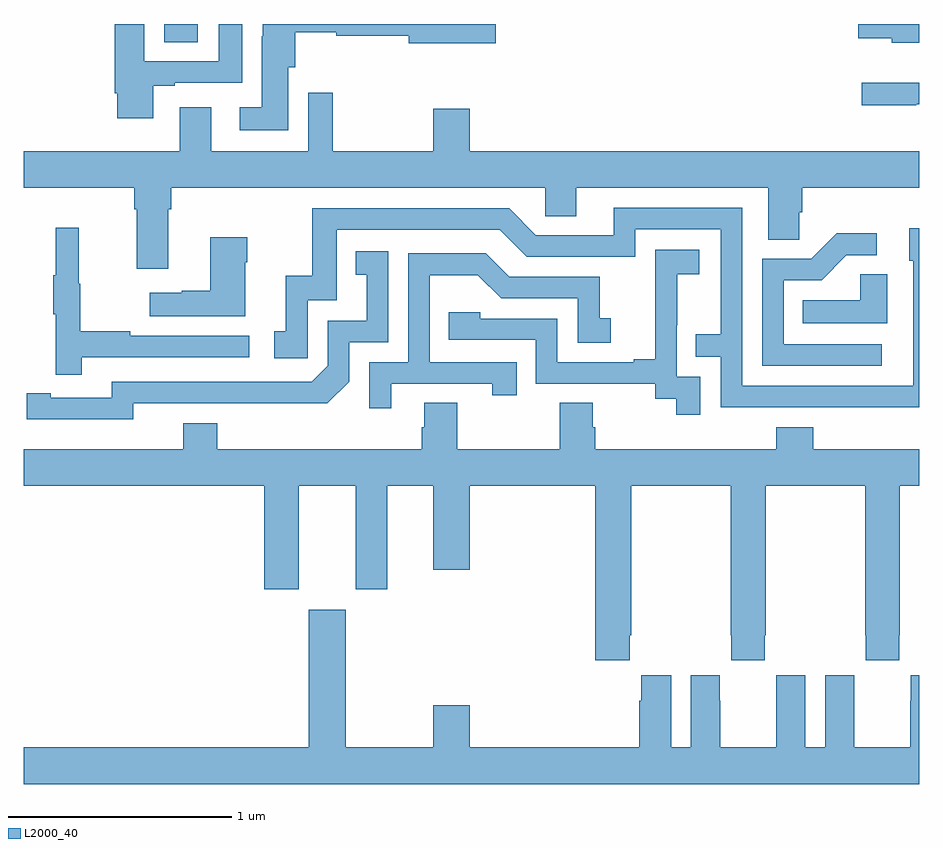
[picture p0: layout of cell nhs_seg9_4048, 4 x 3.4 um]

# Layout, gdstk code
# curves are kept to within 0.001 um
import gdstk
lib = gdstk.Library(unit=1e-6, precision=1e-09)
def R(c, l, rs):  # rectangles x0, y0, x1, y1
    for r in rs: c.add(gdstk.rectangle(r[:2], r[2:], *l))
def P(c, l, *ps):  # polygons
    for p in ps: c.add(gdstk.Polygon(p, *l))
L2000_40 = (2000, 40)

nhs_seg9_4048 = lib.new_cell('nhs_seg9_4048')
R(nhs_seg9_4048, L2000_40, [(343.628,1182.418,343.777,1182.5)])
P(nhs_seg9_4048, L2000_40, [(344.182,1182.306),(344.213,1182.306),(344.213,1182.463),(344.396,1182.463),(344.396,1182.448),(344.72,1182.448),(344.72,1182.413),(345.109,1182.413),(345.109,1182.5),(344.067,1182.5),(344.067,1182.446),(344.063,1182.446),(344.063,1182.127),(343.965,1182.127),(343.965,1182.026),(344.182,1182.026)],
  [(343.579,1182.225),(343.675,1182.225),(343.675,1182.237),(343.975,1182.237),(343.975,1182.5),(343.871,1182.5),(343.871,1182.333),(343.537,1182.333),(343.537,1182.5),(343.406,1182.5),(343.406,1182.19),(343.418,1182.19),(343.418,1182.078),(343.579,1182.078)],
  [(347,1182.5),(346.728,1182.5),(346.728,1182.437),(346.878,1182.437),(346.878,1182.416),(347,1182.416)],
  [(346.987,1182.141),(347,1182.141),(347,1182.238),(346.743,1182.238),(346.743,1182.137),(346.987,1182.137)],
  [(343.645,1181.672),(343.658,1181.672),(343.658,1181.768),(345.33,1181.768),(345.33,1181.641),(345.469,1181.641),(345.469,1181.768),(346.325,1181.768),(346.325,1181.536),(346.464,1181.536),(346.464,1181.659),(346.478,1181.659),(346.478,1181.768),(347,1181.768),(347,1181.932),(344.992,1181.932),(344.992,1182.121),(344.828,1182.121),(344.828,1181.932),(344.38,1181.932),(344.38,1182.193),(344.271,1182.193),(344.271,1181.932),(343.837,1181.932),(343.837,1182.127),(343.697,1182.127),(343.697,1181.932),(343,1181.932),(343,1181.768),(343.493,1181.768),(343.493,1181.672),(343.505,1181.672),(343.505,1181.406),(343.645,1181.406)],
  [(347,1181.587),(346.955,1181.587),(346.955,1181.442),(346.974,1181.442),(346.974,1180.884),(346.209,1180.884),(346.209,1181.679),(345.635,1181.679),(345.635,1181.556),(345.288,1181.556),(345.168,1181.676),(344.289,1181.676),(344.289,1181.374),(344.171,1181.374),(344.171,1181.127),(344.118,1181.127),(344.118,1181.007),(344.268,1181.007),(344.268,1181.265),(344.397,1181.265),(344.397,1181.58),(345.126,1181.58),(345.246,1181.46),(345.732,1181.46),(345.732,1181.583),(346.113,1181.583),(346.113,1181.114),(346.003,1181.114),(346.003,1181.013),(346.113,1181.013),(346.113,1180.788),(347,1180.787)],
  [(343.259,1181.01),(344.008,1181.01),(344.008,1181.106),(343.475,1181.106),(343.475,1181.126),(343.252,1181.126),(343.252,1181.34),(343.244,1181.34),(343.244,1181.59),(343.142,1181.59),(343.142,1181.377),(343.131,1181.377),(343.131,1181.203),(343.142,1181.203),(343.142,1180.932),(343.259,1180.932)],
  [(346.834,1181.07),(346.395,1181.07),(346.395,1181.355),(346.564,1181.355),(346.675,1181.466),(346.81,1181.466),(346.81,1181.564),(346.631,1181.564),(346.518,1181.451),(346.299,1181.451),(346.299,1180.974),(346.834,1180.974)],
  [(343.99,1181.435),(343.998,1181.435),(343.998,1181.548),(343.832,1181.548),(343.832,1181.309),(343.706,1181.309),(343.706,1181.299),(343.563,1181.299),(343.563,1181.195),(343.99,1181.195)],
  [(346.023,1180.923),(345.918,1180.923),(345.918,1181.153),(345.92,1181.153),(345.92,1181.381),(346.018,1181.381),(346.018,1181.491),(345.82,1181.491),(345.82,1181.285),(345.821,1181.285),(345.821,1181.002),(345.725,1181.002),(345.725,1180.989),(345.384,1180.989),(345.384,1181.184),(345.039,1181.184),(345.039,1181.211),(344.899,1181.211),(344.899,1181.088),(345.288,1181.088),(345.288,1180.893),(345.822,1180.893),(345.822,1180.825),(345.915,1180.825),(345.915,1180.755),(346.023,1180.755)],
  [(343.488,1180.806),(344.356,1180.805),(344.454,1180.902),(344.454,1181.079),(344.628,1181.079),(344.628,1181.485),(344.482,1181.485),(344.482,1181.379),(344.531,1181.379),(344.531,1181.175),(344.358,1181.175),(344.358,1180.974),(344.286,1180.902),(343.392,1180.902),(343.392,1180.83),(343.12,1180.83),(343.12,1180.85),(343.012,1180.85),(343.012,1180.734),(343.488,1180.733)],
  [(344.641,1180.893),(345.092,1180.893),(345.092,1180.842),(345.203,1180.842),(345.203,1180.989),(344.814,1180.989),(344.814,1181.378),(345.028,1181.378),(345.132,1181.274),(345.474,1181.274),(345.474,1181.076),(345.622,1181.076),(345.622,1181.185),(345.573,1181.185),(345.573,1181.37),(345.169,1181.37),(345.064,1181.475),(344.718,1181.475),(344.718,1180.989),(344.544,1180.989),(344.544,1180.782),(344.641,1180.782)],
  [(346.858,1181.381),(346.737,1181.381),(346.737,1181.266),(346.48,1181.266),(346.48,1181.162),(346.858,1181.162)],
  [(345.707,1179.769),(345.714,1179.769),(345.714,1180.436),(346.159,1180.436),(346.159,1179.769),(346.161,1179.769),(346.161,1179.657),(346.311,1179.657),(346.311,1179.769),(346.314,1179.769),(346.314,1180.436),(346.759,1180.436),(346.759,1179.769),(346.761,1179.769),(346.761,1179.657),(346.911,1179.657),(346.911,1179.769),(346.914,1179.769),(346.914,1180.436),(347,1180.436),(347,1180.6),(346.526,1180.6),(346.526,1180.699),(346.361,1180.699),(346.361,1180.6),(345.554,1180.6),(345.554,1180.698),(345.541,1180.698),(345.541,1180.808),(345.394,1180.808),(345.394,1180.6),(344.937,1180.6),(344.937,1180.808),(344.789,1180.808),(344.789,1180.698),(344.777,1180.698),(344.777,1180.6),(343.865,1180.6),(343.865,1180.717),(343.712,1180.717),(343.712,1180.6),(343,1180.6),(343,1180.436),(344.075,1180.436),(344.075,1179.975),(344.227,1179.975),(344.227,1180.436),(344.483,1180.436),(344.483,1179.975),(344.623,1179.975),(344.623,1180.436),(344.828,1180.436),(344.828,1180.062),(344.992,1180.062),(344.992,1180.436),(345.554,1180.436),(345.554,1179.657),(345.707,1179.657)],
  [(345.758,1179.589),(345.758,1179.476),(345.749,1179.476),(345.749,1179.268),(344.992,1179.268),(344.992,1179.457),(344.828,1179.457),(344.828,1179.268),(344.437,1179.268),(344.437,1179.883),(344.273,1179.883),(344.273,1179.268),(343,1179.268),(343,1179.104),(347,1179.104),(347,1179.589),(346.962,1179.589),(346.962,1179.476),(346.961,1179.476),(346.961,1179.268),(346.711,1179.268),(346.711,1179.476),(346.71,1179.476),(346.71,1179.589),(346.58,1179.589),(346.58,1179.268),(346.492,1179.268),(346.492,1179.589),(346.362,1179.589),(346.362,1179.476),(346.361,1179.476),(346.361,1179.268),(346.111,1179.268),(346.111,1179.476),(346.11,1179.476),(346.11,1179.589),(345.98,1179.589),(345.98,1179.268),(345.892,1179.268),(345.892,1179.589)])

lib.write_gds('nhs_seg9_4048.gds')
